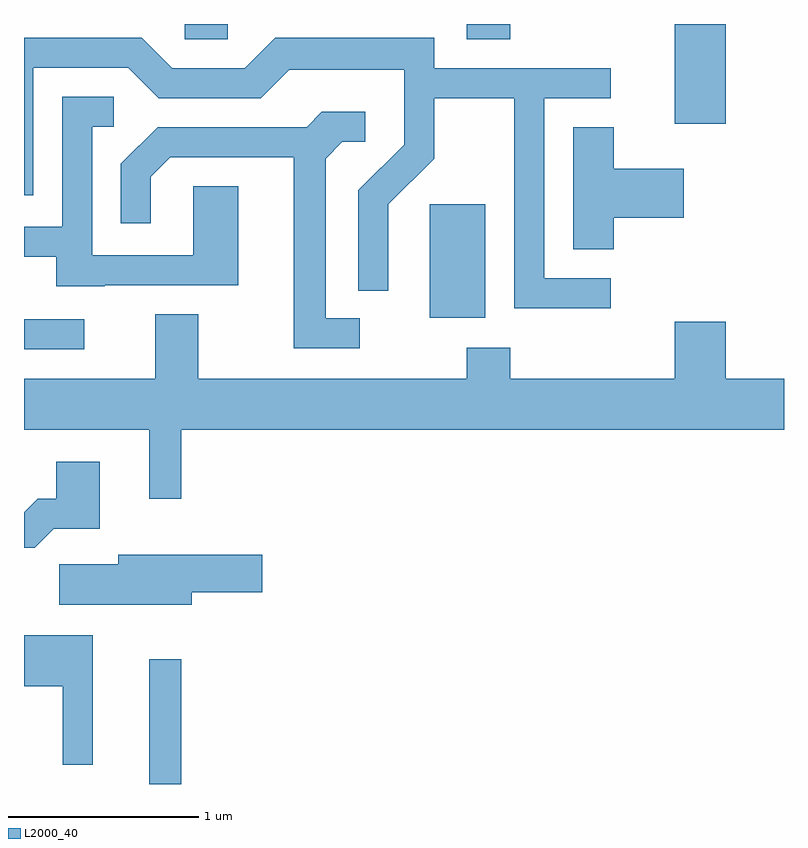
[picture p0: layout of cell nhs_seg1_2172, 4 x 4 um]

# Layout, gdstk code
import gdstk
lib = gdstk.Library(unit=1e-6, precision=1e-09)
def R(c, l, rs):  # rectangles x0, y0, x1, y1
    for r in rs: c.add(gdstk.rectangle(r[:2], r[2:], *l))
def P(c, l, *ps):  # polygons
    for p in ps: c.add(gdstk.Polygon(p, *l))
L2000_40 = (2000, 40)

nhs_seg1_2172 = lib.new_cell('nhs_seg1_2172')
R(nhs_seg1_2172, L2000_40, [(252.271,897.712,252.439,898.368), (251.611,900.001,251.928,900.159), (253.746,900.166,254.039,900.764), (255.036,901.186,255.304,901.712), (252.456,901.631,252.684,901.712), (253.941,901.631,254.169,901.712)])
P(nhs_seg1_2172, L2000_40, [(254.698,900.374),(254.349,900.374),(254.349,901.321),(254.698,901.321),(254.698,901.479),(253.769,901.479),(253.769,901.639),(252.934,901.639),(252.774,901.479),(252.392,901.479),(252.232,901.639),(251.611,901.639),(251.611,900.811),(251.659,900.811),(251.659,901.481),(252.159,901.481),(252.319,901.321),(252.857,901.321),(253.007,901.471),(253.611,901.471),(253.611,901.077),(253.371,900.837),(253.371,900.308),(253.529,900.308),(253.529,900.764),(253.769,901.004),(253.769,901.321),(254.191,901.321),(254.191,900.216),(254.698,900.216)],
  [(252.035,900.336),(252.739,900.336),(252.739,900.859),(252.501,900.859),(252.501,900.494),(251.969,900.494),(251.969,901.171),(252.083,901.171),(252.083,901.329),(251.811,901.329),(251.811,900.644),(251.611,900.644),(251.611,900.486),(251.781,900.486),(251.781,900.331),(252.035,900.331)],
  [(253.378,900.164),(253.199,900.164),(253.199,901.004),(253.287,901.091),(253.408,901.091),(253.408,901.249),(253.179,901.249),(253.099,901.169),(252.314,901.169),(252.121,900.977),(252.121,900.663),(252.279,900.663),(252.279,900.909),(252.382,901.011),(253.031,901.011),(253.031,900.006),(253.378,900.006)],
  [(254.714,900.691),(255.084,900.691),(255.084,900.949),(254.714,900.949),(254.714,901.169),(254.501,901.169),(254.501,900.526),(254.714,900.526)],
  [(252.439,899.576),(255.611,899.576),(255.611,899.844),(255.304,899.844),(255.304,900.144),(255.036,900.144),(255.036,899.844),(254.169,899.844),(254.169,900.009),(253.941,900.009),(253.941,899.844),(252.529,899.844),(252.529,900.184),(252.301,900.184),(252.301,899.844),(251.611,899.844),(251.611,899.576),(252.271,899.576),(252.271,899.213),(252.439,899.213)],
  [(251.767,899.056),(252.009,899.056),(252.009,899.409),(251.781,899.409),(251.781,899.214),(251.684,899.214),(251.611,899.141),(251.611,898.956),(251.667,898.956)],
  [(252.494,898.721),(252.864,898.721),(252.864,898.919),(252.106,898.919),(252.106,898.869),(251.796,898.869),(251.796,898.656),(252.494,898.656)],
  [(251.974,898.494),(251.611,898.494),(251.611,898.226),(251.816,898.226),(251.816,897.813),(251.974,897.813)])

lib.write_gds('nhs_seg1_2172.gds')
